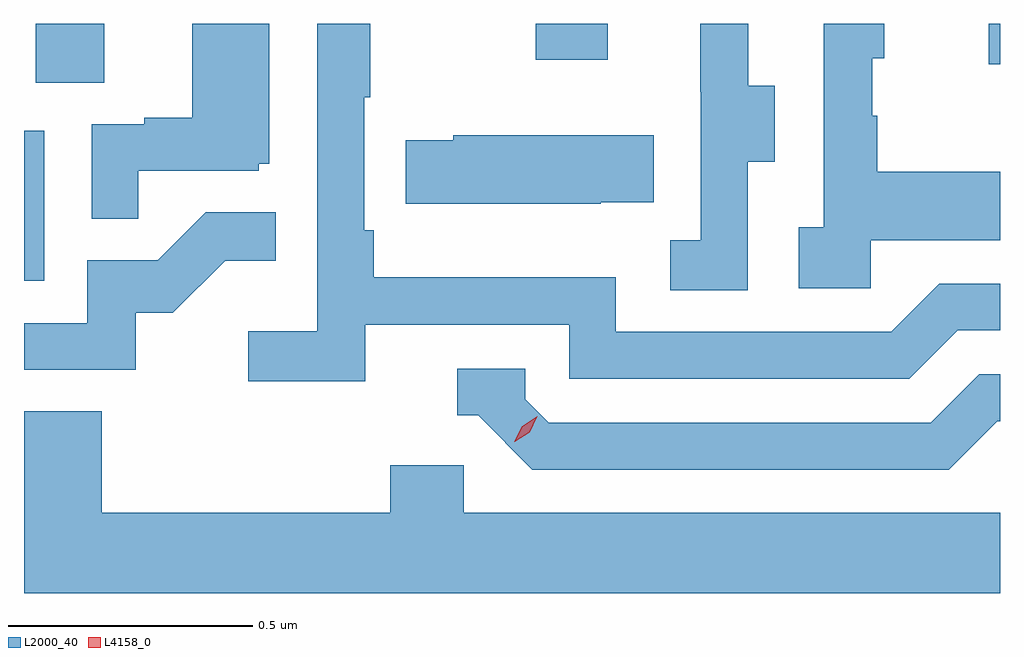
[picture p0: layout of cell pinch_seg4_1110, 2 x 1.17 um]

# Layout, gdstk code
import gdstk
lib = gdstk.Library(unit=1e-6, precision=1e-09)
def R(c, l, rs):  # rectangles x0, y0, x1, y1
    for r in rs: c.add(gdstk.rectangle(r[:2], r[2:], *l))
def P(c, l, *ps):  # polygons
    for p in ps: c.add(gdstk.Polygon(p, *l))
L2000_40 = (2000, 40)
L4158_0 = (4158, 0)

pinch_seg4_1110 = lib.new_cell('pinch_seg4_1110')
R(pinch_seg4_1110, L2000_40, [(884.945,757.5,884.986,757.807), (884.969,757.906,885.109,758.026), (886.922,757.944,886.945,758.026), (885.994,757.953,886.141,758.026)])
P(pinch_seg4_1110, L2000_40, [(885.179,757.725),(885.426,757.725),(885.426,757.74),(885.448,757.74),(885.448,758.026),(885.29,758.026),(885.29,757.834),(885.191,757.834),(885.191,757.821),(885.084,757.821),(885.084,757.627),(885.179,757.627)],
  [(886.428,757.744),(886.483,757.744),(886.483,757.899),(886.429,757.899),(886.429,758.026),(886.331,758.026),(886.331,757.887),(886.332,757.887),(886.332,757.583),(886.269,757.583),(886.269,757.48),(886.428,757.48)],
  [(885.644,757.41),(886.062,757.41),(886.062,757.299),(886.759,757.299),(886.858,757.398),(886.945,757.398),(886.945,757.494),(886.821,757.494),(886.722,757.395),(886.158,757.395),(886.158,757.507),(885.662,757.507),(885.662,757.603),(885.642,757.603),(885.642,757.876),(885.655,757.876),(885.655,758.026),(885.546,758.026),(885.546,757.396),(885.405,757.396),(885.405,757.294),(885.644,757.294)],
  [(886.68,757.583),(886.945,757.583),(886.945,757.723),(886.693,757.723),(886.693,757.838),(886.683,757.838),(886.683,757.956),(886.708,757.956),(886.708,758.026),(886.584,758.026),(886.584,757.61),(886.533,757.61),(886.533,757.485),(886.68,757.485)],
  [(886.127,757.661),(886.235,757.661),(886.235,757.798),(885.825,757.798),(885.825,757.788),(885.727,757.788),(885.727,757.658),(886.127,757.658)],
  [(885.174,757.434),(885.25,757.434),(885.357,757.541),(885.461,757.541),(885.461,757.64),(885.317,757.64),(885.219,757.542),(885.075,757.542),(885.075,757.413),(884.945,757.413),(884.945,757.317),(885.174,757.317)],
  [(886.939,757.212),(886.945,757.212),(886.945,757.308),(886.902,757.308),(886.803,757.209),(886.02,757.209),(885.972,757.257),(885.972,757.32),(885.833,757.32),(885.833,757.224),(885.876,757.224),(885.987,757.113),(886.84,757.113)],
  [(886.945,757.024),(885.846,757.024),(885.846,757.122),(885.695,757.122),(885.695,757.024),(885.104,757.024),(885.104,757.232),(884.945,757.232),(884.945,756.86),(886.945,756.86)])
P(pinch_seg4_1110, L4158_0, [(885.95,757.17),(885.95,757.17),(885.966,757.202),(885.997,757.222),(885.997,757.222),(885.997,757.222),(885.981,757.189),(885.951,757.17)])

lib.write_gds('pinch_seg4_1110.gds')
